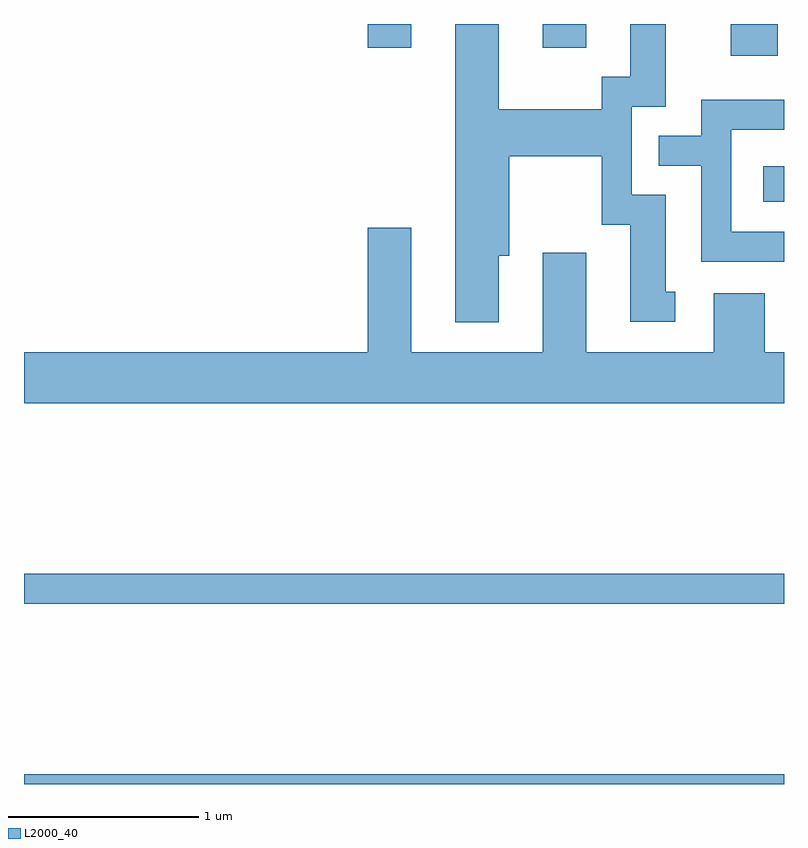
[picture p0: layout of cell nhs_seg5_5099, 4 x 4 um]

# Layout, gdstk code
import gdstk
lib = gdstk.Library(unit=1e-6, precision=1e-09)
def R(c, l, rs):  # rectangles x0, y0, x1, y1
    for r in rs: c.add(gdstk.rectangle(r[:2], r[2:], *l))
def P(c, l, *ps):  # polygons
    for p in ps: c.add(gdstk.Polygon(p, *l))
L2000_40 = (2000, 40)

nhs_seg5_5099 = lib.new_cell('nhs_seg5_5099')
R(nhs_seg5_5099, L2000_40, [(335.611,1508.072,339.611,1508.124), (335.611,1509.021,339.611,1509.179), (339.501,1511.136,339.611,1511.324), (339.331,1511.906,339.579,1512.072), (337.421,1511.946,337.649,1512.072), (338.341,1511.946,338.569,1512.072)])
P(nhs_seg5_5099, L2000_40, [(338.109,1510.851),(338.164,1510.851),(338.164,1511.376),(338.651,1511.376),(338.651,1511.016),(338.801,1511.016),(338.801,1510.506),(339.038,1510.506),(339.038,1510.664),(338.989,1510.664),(338.989,1511.174),(338.809,1511.174),(338.809,1511.636),(338.989,1511.636),(338.989,1512.072),(338.801,1512.072),(338.801,1511.794),(338.651,1511.794),(338.651,1511.624),(338.109,1511.624),(338.109,1512.072),(337.881,1512.072),(337.881,1510.501),(338.109,1510.501)],
  [(339.611,1510.979),(339.334,1510.979),(339.334,1511.516),(339.611,1511.516),(339.611,1511.674),(339.176,1511.674),(339.176,1511.484),(338.953,1511.484),(338.953,1511.326),(339.176,1511.326),(339.176,1510.821),(339.611,1510.821)],
  [(339.611,1510.344),(339.509,1510.344),(339.509,1510.654),(339.241,1510.654),(339.241,1510.344),(338.569,1510.344),(338.569,1510.869),(338.341,1510.869),(338.341,1510.344),(337.649,1510.344),(337.649,1510.999),(337.421,1510.999),(337.421,1510.344),(335.611,1510.344),(335.611,1510.076),(339.611,1510.076)])

lib.write_gds('nhs_seg5_5099.gds')
